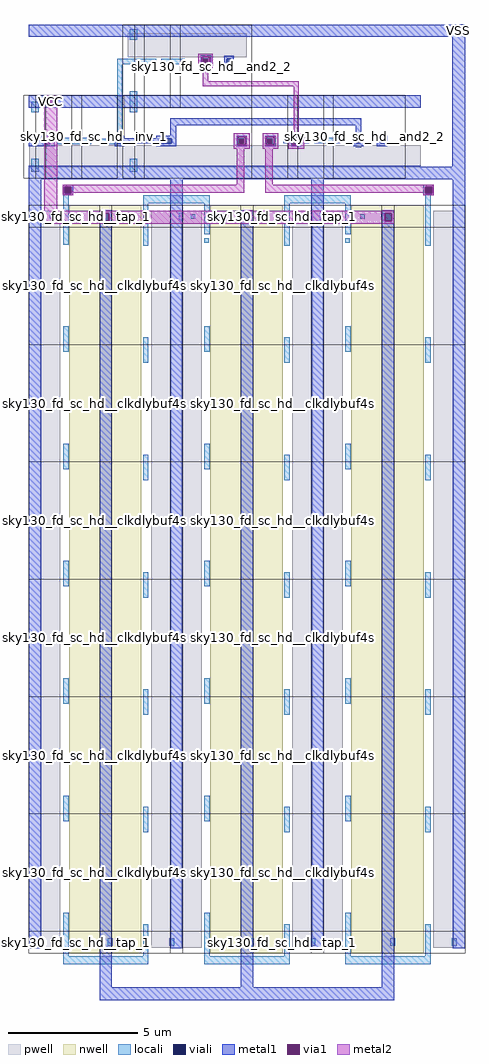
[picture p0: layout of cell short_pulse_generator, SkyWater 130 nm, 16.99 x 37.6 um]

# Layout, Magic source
magic
tech sky130A
magscale 1 2
<< nwell >>
rect 682 261 740 582
<< pwell >>
rect 760 885 1680 1067
rect 3 38 3018 204
<< locali >>
rect 777 1020 835 1100
rect 680 828 980 872
rect 1020 828 1200 872
rect 17 460 75 540
rect 220 215 480 263
rect 680 257 720 828
rect 777 460 835 620
rect 540 256 720 257
rect 540 222 680 256
rect 714 222 720 256
rect 1960 254 2160 262
rect 540 215 720 222
rect 1960 220 2040 254
rect 2074 220 2160 254
rect 2200 220 2400 262
rect 17 0 75 100
rect 777 0 835 100
rect 260 -114 340 -100
rect 260 -166 274 -114
rect 326 -166 340 -114
rect 260 -180 340 -166
rect 3040 -114 3120 -100
rect 3040 -166 3054 -114
rect 3106 -166 3120 -114
rect 3040 -180 3120 -166
rect 263 -560 305 -180
rect 3055 -560 3097 -180
<< viali >>
rect 1344 838 1378 872
rect 1526 840 1560 874
rect 126 215 160 249
rect 680 222 714 256
rect 1000 222 1100 256
rect 1620 220 1654 254
rect 1840 220 1874 254
rect 2040 220 2074 254
rect 2520 220 2554 254
rect 2706 220 2740 260
rect 274 -166 326 -114
rect 3054 -166 3106 -114
<< metal1 >>
rect 3260 1136 3360 1140
rect 0 1040 3360 1136
rect 1324 888 1404 898
rect 1324 828 1334 888
rect 1394 828 1404 888
rect 1324 818 1404 828
rect 1506 874 1580 894
rect 1506 840 1526 874
rect 1560 840 1580 874
rect 1506 820 1580 840
rect 0 572 3020 592
rect 0 512 140 572
rect 200 512 3020 572
rect 0 496 3020 512
rect 1090 358 2560 412
rect 1090 280 1136 358
rect 2520 280 2560 358
rect 0 249 200 280
rect 0 215 126 249
rect 160 215 200 249
rect 0 200 200 215
rect 660 260 734 280
rect 980 260 1136 280
rect 660 256 1136 260
rect 660 222 680 256
rect 714 222 1000 256
rect 1100 222 1136 256
rect 660 220 1136 222
rect 660 200 734 220
rect 980 200 1136 220
rect 1600 270 1680 280
rect 1600 210 1610 270
rect 1670 210 1680 270
rect 1600 200 1680 210
rect 1820 270 1900 280
rect 1820 210 1830 270
rect 1890 210 1900 270
rect 1820 200 1900 210
rect 2020 270 2100 280
rect 2020 210 2030 270
rect 2090 210 2100 270
rect 2020 200 2100 210
rect 2500 254 2580 280
rect 2500 220 2520 254
rect 2554 220 2580 254
rect 2500 200 2580 220
rect 2680 260 2760 280
rect 2680 220 2706 260
rect 2740 220 2760 260
rect 2680 200 2760 220
rect 1090 198 1136 200
rect 2520 192 2560 200
rect 0 -48 3020 48
rect 3260 -60 3360 1040
rect 260 -114 340 -100
rect 260 -166 274 -114
rect 326 -166 340 -114
rect 260 -180 340 -166
rect 3040 -114 3120 -100
rect 3040 -166 3054 -114
rect 3106 -166 3120 -114
rect 3040 -180 3120 -166
<< via1 >>
rect 1334 872 1394 888
rect 1334 838 1344 872
rect 1344 838 1378 872
rect 1378 838 1394 872
rect 1334 828 1394 838
rect 140 512 200 572
rect 1610 254 1670 270
rect 1610 220 1620 254
rect 1620 220 1654 254
rect 1654 220 1670 254
rect 1610 210 1670 220
rect 1830 254 1890 270
rect 1830 220 1840 254
rect 1840 220 1874 254
rect 1874 220 1890 254
rect 1830 210 1890 220
rect 2030 254 2090 270
rect 2030 220 2040 254
rect 2040 220 2074 254
rect 2074 220 2090 254
rect 2030 210 2090 220
rect 274 -166 326 -114
rect 3054 -166 3106 -114
rect 564 -380 620 -320
rect 1652 -380 1708 -320
rect 2740 -380 2796 -320
<< metal2 >>
rect 1304 888 1418 912
rect 1304 828 1334 888
rect 1394 828 1418 888
rect 1304 800 1418 828
rect 1340 700 1380 800
rect 1340 660 2080 700
rect 120 572 220 592
rect 120 512 140 572
rect 200 512 220 572
rect 120 -300 220 512
rect 2040 300 2080 660
rect 1580 270 1700 300
rect 1580 210 1610 270
rect 1670 210 1700 270
rect 1580 180 1700 210
rect 1800 270 1920 300
rect 1800 210 1830 270
rect 1890 210 1920 270
rect 1800 180 1920 210
rect 2000 270 2120 300
rect 2000 210 2030 270
rect 2090 210 2120 270
rect 2000 180 2120 210
rect 1600 -100 1660 180
rect 260 -114 1660 -100
rect 260 -166 274 -114
rect 326 -160 1660 -114
rect 1820 -100 1880 180
rect 1820 -114 3120 -100
rect 1820 -160 3054 -114
rect 326 -166 340 -160
rect 260 -180 340 -166
rect 3040 -166 3054 -160
rect 3106 -166 3120 -114
rect 3040 -180 3120 -166
rect 120 -320 2816 -300
rect 120 -380 564 -320
rect 620 -380 1652 -320
rect 1708 -380 2740 -320
rect 2796 -380 2816 -320
rect 120 -400 2816 -380
use sky130_fd_sc_hd__and2_2  sky130_fd_sc_hd__and2_2_0 $PDKPATH/libs.ref/sky130_fd_sc_hd/mag
transform 1 0 2308 0 1 0
box -38 -48 590 592
use sky130_fd_sc_hd__and2_2  sky130_fd_sc_hd__and2_2_1
transform 1 0 1128 0 -1 1088
box -38 -48 590 592
use sky130_fd_sc_hd__inv_1  sky130_fd_sc_hd__inv_1_0 $PDKPATH/libs.ref/sky130_fd_sc_hd/mag
transform 1 0 368 0 1 0
box -38 -48 314 592
use sky130_fd_sc_hd__inv_1  sky130_fd_sc_hd__inv_1_1
transform 1 0 1756 0 1 0
box -38 -48 314 592
use sky130_fd_sc_hd__inv_1  sky130_fd_sc_hd__inv_1_2
transform 1 0 2032 0 1 0
box -38 -48 314 592
use sky130_fd_sc_hd__inv_1  sky130_fd_sc_hd__inv_1_3
transform 1 0 852 0 -1 1088
box -38 -48 314 592
use sky130_fd_sc_hd__inv_2  sky130_fd_sc_hd__inv_2_0 $PDKPATH/libs.ref/sky130_fd_sc_hd/mag
transform 1 0 92 0 1 0
box -38 -48 314 592
use sky130_fd_sc_hd__inv_8  sky130_fd_sc_hd__inv_8_0 $PDKPATH/libs.ref/sky130_fd_sc_hd/mag
transform 1 0 852 0 1 0
box -38 -48 866 592
use sky130_fd_sc_hd__tap_1  sky130_fd_sc_hd__tap_1_0 $PDKPATH/libs.ref/sky130_fd_sc_hd/mag
transform 1 0 0 0 1 0
box -38 -48 130 592
use sky130_fd_sc_hd__tap_1  sky130_fd_sc_hd__tap_1_1
transform 1 0 760 0 1 0
box -38 -48 130 592
use sky130_fd_sc_hd__tap_1  sky130_fd_sc_hd__tap_1_2
transform 1 0 760 0 -1 1088
box -38 -48 130 592
use sp_delay_top  sp_delay_top_0
transform 0 1 0 -1 0 42
box 0 0 6422 3360
<< labels >>
rlabel metal1 3260 1040 3360 1140 1 VSS
port 1 n
rlabel metal2 120 492 220 592 1 VCC
port 2 n
rlabel metal1 0 200 80 280 7 Vin
port 3 w
rlabel metal1 1506 820 1580 894 3 VFE
port 4 e
rlabel metal1 2680 200 2760 280 3 VRE
port 5 e
<< end >>

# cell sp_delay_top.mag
magic
tech sky130A
magscale 1 2
<< locali >>
rect 523 3055 552 3096
rect 223 2439 523 2481
rect 223 2009 283 2439
rect 223 1967 523 2009
rect 223 1351 523 1393
rect 223 921 283 1351
rect 223 879 523 921
rect 367 377 401 411
rect 552 263 586 297
rect 367 159 401 193
<< metal1 >>
rect 6022 2720 6422 2816
rect 6322 1728 6422 2720
rect 6022 1632 6422 1728
rect 6322 640 6422 1632
rect 6022 544 6422 640
use sp_delay2x  sp_delay2x_0
transform 1 0 300 0 1 0
box -300 0 5846 1184
use sp_delay2x  sp_delay2x_1
transform 1 0 300 0 1 1088
box -300 0 5846 1184
use sp_delay2x  sp_delay2x_2
transform 1 0 300 0 1 2176
box -300 0 5846 1184
<< labels >>
rlabel locali 367 377 401 411 5 VCC
port 1 s
rlabel locali 367 159 401 193 5 VSS
port 2 s
rlabel locali 552 263 586 297 5 VIN
port 3 s
rlabel locali 523 3055 552 3096 5 VOUT
port 4 s
<< end >>

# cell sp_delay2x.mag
magic
tech sky130A
magscale 1 2
<< nwell >>
rect 0 309 5760 867
<< locali >>
rect 223 879 252 921
rect 5537 879 5846 921
rect 67 377 101 411
rect 5786 305 5846 879
rect 252 263 286 297
rect 5647 263 5846 305
rect 67 159 101 193
<< metal1 >>
rect -300 1088 38 1184
rect -300 96 -200 1088
rect -300 0 38 96
use sp_delay  sp_delay_0
transform 1 0 38 0 1 48
box -38 -48 5722 592
use sp_delay  sp_delay_1
transform -1 0 5722 0 -1 1136
box -38 -48 5722 592
<< labels >>
rlabel locali 67 377 101 411 5 VCC
port 1 s
rlabel locali 67 159 101 193 5 VSS
port 2 s
rlabel locali 252 263 286 297 5 VIN
port 3 s
rlabel locali 223 879 252 921 5 VOUT
port 4 s
<< end >>

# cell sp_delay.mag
magic
tech sky130A
magscale 1 2
<< pwell >>
rect 3 38 5681 195
<< locali >>
rect 17 491 75 527
rect 893 215 1089 257
rect 1797 215 1993 257
rect 2701 215 2897 257
rect 3605 215 3801 257
rect 4509 215 4705 257
rect 5413 215 5609 257
rect 17 17 75 53
<< metal1 >>
rect 0 496 5684 592
rect 0 -48 5684 48
use sky130_fd_sc_hd__clkdlybuf4s50_2  sky130_fd_sc_hd__clkdlybuf4s50_2_0 $PDKPATH/libs.ref/sky130_fd_sc_hd/mag
transform 1 0 168 0 1 0
box -38 -48 866 592
use sky130_fd_sc_hd__clkdlybuf4s50_2  sky130_fd_sc_hd__clkdlybuf4s50_2_1
transform 1 0 1072 0 1 0
box -38 -48 866 592
use sky130_fd_sc_hd__clkdlybuf4s50_2  sky130_fd_sc_hd__clkdlybuf4s50_2_2
transform 1 0 1976 0 1 0
box -38 -48 866 592
use sky130_fd_sc_hd__clkdlybuf4s50_2  sky130_fd_sc_hd__clkdlybuf4s50_2_3
transform 1 0 2880 0 1 0
box -38 -48 866 592
use sky130_fd_sc_hd__clkdlybuf4s50_2  sky130_fd_sc_hd__clkdlybuf4s50_2_4
transform 1 0 3784 0 1 0
box -38 -48 866 592
use sky130_fd_sc_hd__clkdlybuf4s50_2  sky130_fd_sc_hd__clkdlybuf4s50_2_5
transform 1 0 4688 0 1 0
box -38 -48 866 592
use sky130_fd_sc_hd__tap_1  sky130_fd_sc_hd__tap_1_0 $PDKPATH/libs.ref/sky130_fd_sc_hd/mag
transform 1 0 0 0 1 0
box -38 -48 130 592
use sky130_fd_sc_hd__tap_1  sky130_fd_sc_hd__tap_1_1
transform 1 0 5592 0 1 0
box -38 -48 130 592
<< end >>
